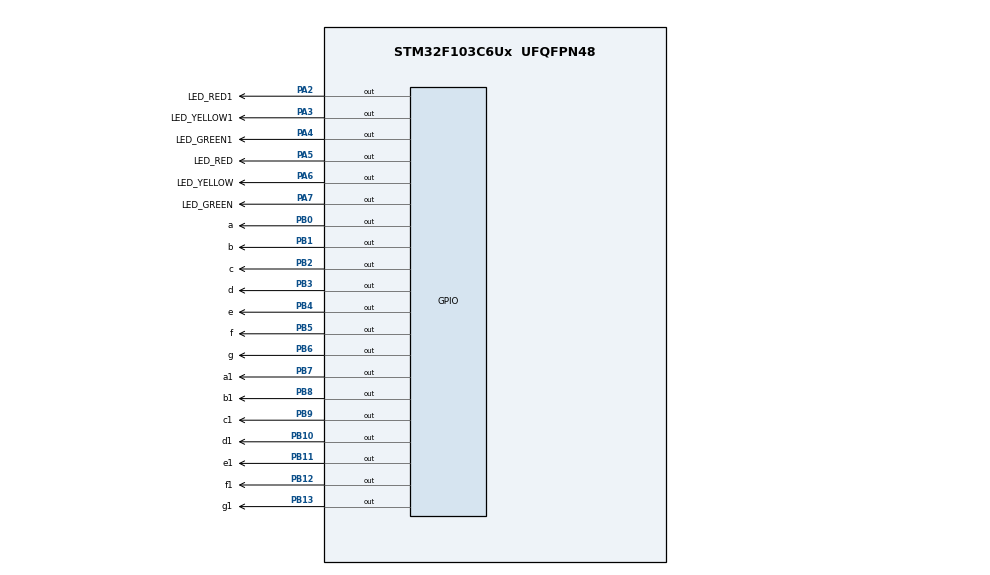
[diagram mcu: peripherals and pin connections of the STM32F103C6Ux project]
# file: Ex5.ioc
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Mcu.Family=STM32F1
Mcu.Name=STM32F103C6Ux
Mcu.Package=UFQFPN48
NVIC.PriorityGroup=NVIC_PRIORITYGROUP_4
PA2.GPIO_Label=LED_RED1
PA2.Signal=GPIO_Output
PA3.GPIO_Label=LED_YELLOW1
PA3.Signal=GPIO_Output
PA4.GPIO_Label=LED_GREEN1
PA4.Signal=GPIO_Output
PA5.GPIO_Label=LED_RED
PA5.Signal=GPIO_Output
PA6.GPIO_Label=LED_YELLOW
PA6.Signal=GPIO_Output
PA7.GPIO_Label=LED_GREEN
PA7.Signal=GPIO_Output
PB0.GPIO_Label=a
PB0.Signal=GPIO_Output
PB1.GPIO_Label=b
PB1.Signal=GPIO_Output
PB10.GPIO_Label=d1
PB10.Signal=GPIO_Output
PB11.GPIO_Label=e1
PB11.Signal=GPIO_Output
PB12.GPIO_Label=f1
PB12.Signal=GPIO_Output
PB13.GPIO_Label=g1
PB13.Signal=GPIO_Output
PB2.GPIO_Label=c
PB2.Signal=GPIO_Output
PB3.GPIO_Label=d
PB3.Signal=GPIO_Output
PB4.GPIO_Label=e
PB4.Signal=GPIO_Output
PB5.GPIO_Label=f
PB5.Signal=GPIO_Output
PB6.GPIO_Label=g
PB6.Signal=GPIO_Output
PB7.GPIO_Label=a1
PB7.Signal=GPIO_Output
PB8.GPIO_Label=b1
PB8.Signal=GPIO_Output
PB9.GPIO_Label=c1
PB9.Signal=GPIO_Output
ProjectManager.HeapSize=0x200
ProjectManager.StackSize=0x400
ProjectManager.TargetToolchain=STM32CubeIDE
RCC.APB1Freq_Value=8000000
RCC.APB2Freq_Value=8000000
VP_SYS_VS_ND.Mode=No_Debug
board=custom

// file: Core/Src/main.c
/* USER CODE BEGIN Header */
/**
  ******************************************************************************
  * @file           : main.c
  * @brief          : Main program body
  ******************************************************************************
  * @attention
  *
  * <h2><center>&copy; Copyright (c) 2024 STMicroelectronics.
  * All rights reserved.</center></h2>
  *
  * This software component is licensed by ST under BSD 3-Clause license,
  * the "License"; You may not use this file except in compliance with the
  * License. You may obtain a copy of the License at:
  *                        opensource.org/licenses/BSD-3-Clause
  *
  ******************************************************************************
  */
/* USER CODE END Header */
#include "main.h"

void SystemClock_Config(void);
static void MX_GPIO_Init(void);

/* USER CODE BEGIN 0 */
void display7SEG(int num)
{
	if(num == 0)
	{
		HAL_GPIO_WritePin(a1_GPIO_Port, a_Pin, GPIO_PIN_RESET);
		HAL_GPIO_WritePin(b1_GPIO_Port, b_Pin, GPIO_PIN_RESET);
		HAL_GPIO_WritePin(c1_GPIO_Port, c_Pin, GPIO_PIN_RESET);
		HAL_GPIO_WritePin(d1_GPIO_Port, d_Pin, GPIO_PIN_RESET);
		HAL_GPIO_WritePin(e1_GPIO_Port, e_Pin, GPIO_PIN_RESET);
		HAL_GPIO_WritePin(f1_GPIO_Port, f_Pin, GPIO_PIN_RESET);
		HAL_GPIO_WritePin(g1_GPIO_Port, g_Pin, GPIO_PIN_SET);
	}
	if(num == 1)
	{
		HAL_GPIO_WritePin(a1_GPIO_Port, a_Pin, GPIO_PIN_SET);
		HAL_GPIO_WritePin(b1_GPIO_Port, b_Pin, GPIO_PIN_RESET);
		HAL_GPIO_WritePin(c1_GPIO_Port, c_Pin, GPIO_PIN_RESET);
		HAL_GPIO_WritePin(d1_GPIO_Port, d_Pin, GPIO_PIN_SET);
		HAL_GPIO_WritePin(e1_GPIO_Port, e_Pin, GPIO_PIN_SET);
		HAL_GPIO_WritePin(f1_GPIO_Port, f_Pin, GPIO_PIN_SET);
		HAL_GPIO_WritePin(g1_GPIO_Port, g_Pin, GPIO_PIN_SET);
	}
	if(num == 2)
	{
		HAL_GPIO_WritePin(a1_GPIO_Port, a_Pin, GPIO_PIN_RESET);
		HAL_GPIO_WritePin(b1_GPIO_Port, b_Pin, GPIO_PIN_RESET);
		HAL_GPIO_WritePin(c1_GPIO_Port, c_Pin, GPIO_PIN_SET);
		HAL_GPIO_WritePin(d1_GPIO_Port, d_Pin, GPIO_PIN_RESET);
		HAL_GPIO_WritePin(e1_GPIO_Port, e_Pin, GPIO_PIN_RESET);
		HAL_GPIO_WritePin(f1_GPIO_Port, f_Pin, GPIO_PIN_SET);
		HAL_GPIO_WritePin(g1_GPIO_Port, g_Pin, GPIO_PIN_RESET);

	}
	if(num == 3)
	{
		HAL_GPIO_WritePin(a1_GPIO_Port, a_Pin, GPIO_PIN_RESET);
		HAL_GPIO_WritePin(b1_GPIO_Port, b_Pin, GPIO_PIN_RESET);
		HAL_GPIO_WritePin(c1_GPIO_Port, c_Pin, GPIO_PIN_RESET);
		HAL_GPIO_WritePin(d1_GPIO_Port, d_Pin, GPIO_PIN_RESET);
		HAL_GPIO_WritePin(e1_GPIO_Port, e_Pin, GPIO_PIN_SET);
		HAL_GPIO_WritePin(f1_GPIO_Port, f_Pin, GPIO_PIN_SET);
		HAL_GPIO_WritePin(g1_GPIO_Port, g_Pin, GPIO_PIN_RESET);

	}
	if(num == 4)
	{
		HAL_GPIO_WritePin(a1_GPIO_Port, a_Pin, GPIO_PIN_SET);
		HAL_GPIO_WritePin(b1_GPIO_Port, b_Pin, GPIO_PIN_RESET);
		HAL_GPIO_WritePin(c1_GPIO_Port, c_Pin, GPIO_PIN_RESET);
		HAL_GPIO_WritePin(d1_GPIO_Port, d_Pin, GPIO_PIN_SET);
		HAL_GPIO_WritePin(e1_GPIO_Port, e_Pin, GPIO_PIN_SET);
		HAL_GPIO_WritePin(f1_GPIO_Port, f_Pin, GPIO_PIN_RESET);
		HAL_GPIO_WritePin(g1_GPIO_Port, g_Pin, GPIO_PIN_RESET);

	}
	if(num == 5)
	{
		HAL_GPIO_WritePin(a1_GPIO_Port, a_Pin, GPIO_PIN_RESET);
		HAL_GPIO_WritePin(b1_GPIO_Port, b_Pin, GPIO_PIN_SET);
		HAL_GPIO_WritePin(c1_GPIO_Port, c_Pin, GPIO_PIN_RESET);
		HAL_GPIO_WritePin(d1_GPIO_Port, d_Pin, GPIO_PIN_RESET);
		HAL_GPIO_WritePin(e1_GPIO_Port, e_Pin, GPIO_PIN_SET);
		HAL_GPIO_WritePin(f1_GPIO_Port, f_Pin, GPIO_PIN_RESET);
		HAL_GPIO_WritePin(g1_GPIO_Port, g_Pin, GPIO_PIN_RESET);
	}
	if(num == 6)
	{
		HAL_GPIO_WritePin(a1_GPIO_Port, a_Pin, GPIO_PIN_RESET);
		HAL_GPIO_WritePin(b1_GPIO_Port, b_Pin, GPIO_PIN_SET);
		HAL_GPIO_WritePin(c1_GPIO_Port, c_Pin, GPIO_PIN_RESET);
		HAL_GPIO_WritePin(d1_GPIO_Port, d_Pin, GPIO_PIN_RESET);
		HAL_GPIO_WritePin(e1_GPIO_Port, e_Pin, GPIO_PIN_RESET);
		HAL_GPIO_WritePin(f1_GPIO_Port, f_Pin, GPIO_PIN_RESET);
		HAL_GPIO_WritePin(g1_GPIO_Port, g_Pin, GPIO_PIN_RESET);
	}
	if(num == 7)
	{
		HAL_GPIO_WritePin(a1_GPIO_Port, a_Pin, GPIO_PIN_RESET);
		HAL_GPIO_WritePin(b1_GPIO_Port, b_Pin, GPIO_PIN_RESET);
		HAL_GPIO_WritePin(c1_GPIO_Port, c_Pin, GPIO_PIN_RESET);
		HAL_GPIO_WritePin(d1_GPIO_Port, d_Pin, GPIO_PIN_SET);
		HAL_GPIO_WritePin(e1_GPIO_Port, e_Pin, GPIO_PIN_SET);
		HAL_GPIO_WritePin(f1_GPIO_Port, f_Pin, GPIO_PIN_SET);
		HAL_GPIO_WritePin(g1_GPIO_Port, g_Pin, GPIO_PIN_SET);
	}
	if(num == 8)
	{
		HAL_GPIO_WritePin(a1_GPIO_Port, a_Pin, GPIO_PIN_RESET);
		HAL_GPIO_WritePin(b1_GPIO_Port, b_Pin, GPIO_PIN_RESET);
		HAL_GPIO_WritePin(c1_GPIO_Port, c_Pin, GPIO_PIN_RESET);
		HAL_GPIO_WritePin(d1_GPIO_Port, d_Pin, GPIO_PIN_RESET);
		HAL_GPIO_WritePin(e1_GPIO_Port, e_Pin, GPIO_PIN_RESET);
		HAL_GPIO_WritePin(f1_GPIO_Port, f_Pin, GPIO_PIN_RESET);
		HAL_GPIO_WritePin(g1_GPIO_Port, g_Pin, GPIO_PIN_RESET);
	}
	if(num == 9)
	{
		HAL_GPIO_WritePin(a1_GPIO_Port, a_Pin, GPIO_PIN_RESET);
		HAL_GPIO_WritePin(b1_GPIO_Port, b_Pin, GPIO_PIN_RESET);
		HAL_GPIO_WritePin(c1_GPIO_Port, c_Pin, GPIO_PIN_RESET);
		HAL_GPIO_WritePin(d1_GPIO_Port, d_Pin, GPIO_PIN_RESET);
		HAL_GPIO_WritePin(e1_GPIO_Port, e_Pin, GPIO_PIN_SET);
		HAL_GPIO_WritePin(f1_GPIO_Port, f_Pin, GPIO_PIN_RESET);
		HAL_GPIO_WritePin(g1_GPIO_Port, g_Pin, GPIO_PIN_RESET);
	}
}
void display7SEG_1(int num)
{
	if(num == 0)
	{
		HAL_GPIO_WritePin(a1_GPIO_Port, a1_Pin, GPIO_PIN_RESET);
		HAL_GPIO_WritePin(b1_GPIO_Port, b1_Pin, GPIO_PIN_RESET);
		HAL_GPIO_WritePin(c1_GPIO_Port, c1_Pin, GPIO_PIN_RESET);
		HAL_GPIO_WritePin(d1_GPIO_Port, d1_Pin, GPIO_PIN_RESET);
		HAL_GPIO_WritePin(e1_GPIO_Port, e1_Pin, GPIO_PIN_RESET);
		HAL_GPIO_WritePin(f1_GPIO_Port, f1_Pin, GPIO_PIN_RESET);
		HAL_GPIO_WritePin(g1_GPIO_Port, g1_Pin, GPIO_PIN_SET);
	}
	if(num == 1)
	{
		HAL_GPIO_WritePin(a1_GPIO_Port, a1_Pin, GPIO_PIN_SET);
		HAL_GPIO_WritePin(b1_GPIO_Port, b1_Pin, GPIO_PIN_RESET);
		HAL_GPIO_WritePin(c1_GPIO_Port, c1_Pin, GPIO_PIN_RESET);
		HAL_GPIO_WritePin(d1_GPIO_Port, d1_Pin, GPIO_PIN_SET);
		HAL_GPIO_WritePin(e1_GPIO_Port, e1_Pin, GPIO_PIN_SET);
		HAL_GPIO_WritePin(f1_GPIO_Port, f1_Pin, GPIO_PIN_SET);
		HAL_GPIO_WritePin(g1_GPIO_Port, g1_Pin, GPIO_PIN_SET);
	}
	if(num == 2)
	{
		HAL_GPIO_WritePin(a1_GPIO_Port, a1_Pin, GPIO_PIN_RESET);
		HAL_GPIO_WritePin(b1_GPIO_Port, b1_Pin, GPIO_PIN_RESET);
		HAL_GPIO_WritePin(c1_GPIO_Port, c1_Pin, GPIO_PIN_SET);
		HAL_GPIO_WritePin(d1_GPIO_Port, d1_Pin, GPIO_PIN_RESET);
		HAL_GPIO_WritePin(e1_GPIO_Port, e1_Pin, GPIO_PIN_RESET);
		HAL_GPIO_WritePin(f1_GPIO_Port, f1_Pin, GPIO_PIN_SET);
		HAL_GPIO_WritePin(g1_GPIO_Port, g1_Pin, GPIO_PIN_RESET);

	}
	if(num == 3)
	{
		HAL_GPIO_WritePin(a1_GPIO_Port, a1_Pin, GPIO_PIN_RESET);
		HAL_GPIO_WritePin(b1_GPIO_Port, b1_Pin, GPIO_PIN_RESET);
		HAL_GPIO_WritePin(c1_GPIO_Port, c1_Pin, GPIO_PIN_RESET);
		HAL_GPIO_WritePin(d1_GPIO_Port, d1_Pin, GPIO_PIN_RESET);
		HAL_GPIO_WritePin(e1_GPIO_Port, e1_Pin, GPIO_PIN_SET);
		HAL_GPIO_WritePin(f1_GPIO_Port, f1_Pin, GPIO_PIN_SET);
		HAL_GPIO_WritePin(g1_GPIO_Port, g1_Pin, GPIO_PIN_RESET);

	}
	if(num == 4)
	{
		HAL_GPIO_WritePin(a1_GPIO_Port, a1_Pin, GPIO_PIN_SET);
		HAL_GPIO_WritePin(b1_GPIO_Port, b1_Pin, GPIO_PIN_RESET);
		HAL_GPIO_WritePin(c1_GPIO_Port, c1_Pin, GPIO_PIN_RESET);
		HAL_GPIO_WritePin(d1_GPIO_Port, d1_Pin, GPIO_PIN_SET);
		HAL_GPIO_WritePin(e1_GPIO_Port, e1_Pin, GPIO_PIN_SET);
		HAL_GPIO_WritePin(f1_GPIO_Port, f1_Pin, GPIO_PIN_RESET);
		HAL_GPIO_WritePin(g1_GPIO_Port, g1_Pin, GPIO_PIN_RESET);

	}
	if(num == 5)
	{
		HAL_GPIO_WritePin(a1_GPIO_Port, a1_Pin, GPIO_PIN_RESET);
		HAL_GPIO_WritePin(b1_GPIO_Port, b1_Pin, GPIO_PIN_SET);
		HAL_GPIO_WritePin(c1_GPIO_Port, c1_Pin, GPIO_PIN_RESET);
		HAL_GPIO_WritePin(d1_GPIO_Port, d1_Pin, GPIO_PIN_RESET);
		HAL_GPIO_WritePin(e1_GPIO_Port, e1_Pin, GPIO_PIN_SET);
		HAL_GPIO_WritePin(f1_GPIO_Port, f1_Pin, GPIO_PIN_RESET);
		HAL_GPIO_WritePin(g1_GPIO_Port, g1_Pin, GPIO_PIN_RESET);
	}
	if(num == 6)
	{
		HAL_GPIO_WritePin(a1_GPIO_Port, a1_Pin, GPIO_PIN_RESET);
		HAL_GPIO_WritePin(b1_GPIO_Port, b1_Pin, GPIO_PIN_SET);
		HAL_GPIO_WritePin(c1_GPIO_Port, c1_Pin, GPIO_PIN_RESET);
		HAL_GPIO_WritePin(d1_GPIO_Port, d1_Pin, GPIO_PIN_RESET);
		HAL_GPIO_WritePin(e1_GPIO_Port, e1_Pin, GPIO_PIN_RESET);
		HAL_GPIO_WritePin(f1_GPIO_Port, f1_Pin, GPIO_PIN_RESET);
		HAL_GPIO_WritePin(g1_GPIO_Port, g1_Pin, GPIO_PIN_RESET);
	}
	if(num == 7)
	{
		HAL_GPIO_WritePin(a1_GPIO_Port, a1_Pin, GPIO_PIN_RESET);
		HAL_GPIO_WritePin(b1_GPIO_Port, b1_Pin, GPIO_PIN_RESET);
		HAL_GPIO_WritePin(c1_GPIO_Port, c1_Pin, GPIO_PIN_RESET);
		HAL_GPIO_WritePin(d1_GPIO_Port, d1_Pin, GPIO_PIN_SET);
		HAL_GPIO_WritePin(e1_GPIO_Port, e1_Pin, GPIO_PIN_SET);
		HAL_GPIO_WritePin(f1_GPIO_Port, f1_Pin, GPIO_PIN_SET);
		HAL_GPIO_WritePin(g1_GPIO_Port, g1_Pin, GPIO_PIN_SET);
	}
	if(num == 8)
	{
		HAL_GPIO_WritePin(a1_GPIO_Port, a1_Pin, GPIO_PIN_RESET);
		HAL_GPIO_WritePin(b1_GPIO_Port, b1_Pin, GPIO_PIN_RESET);
		HAL_GPIO_WritePin(c1_GPIO_Port, c1_Pin, GPIO_PIN_RESET);
		HAL_GPIO_WritePin(d1_GPIO_Port, d1_Pin, GPIO_PIN_RESET);
		HAL_GPIO_WritePin(e1_GPIO_Port, e1_Pin, GPIO_PIN_RESET);
		HAL_GPIO_WritePin(f1_GPIO_Port, f1_Pin, GPIO_PIN_RESET);
		HAL_GPIO_WritePin(g1_GPIO_Port, g1_Pin, GPIO_PIN_RESET);
	}
	if(num == 9)
	{
		HAL_GPIO_WritePin(a1_GPIO_Port, a1_Pin, GPIO_PIN_RESET);
		HAL_GPIO_WritePin(b1_GPIO_Port, b1_Pin, GPIO_PIN_RESET);
		HAL_GPIO_WritePin(c1_GPIO_Port, c1_Pin, GPIO_PIN_RESET);
		HAL_GPIO_WritePin(d1_GPIO_Port, d1_Pin, GPIO_PIN_RESET);
		HAL_GPIO_WritePin(e1_GPIO_Port, e1_Pin, GPIO_PIN_SET);
		HAL_GPIO_WritePin(f1_GPIO_Port, f1_Pin, GPIO_PIN_RESET);
		HAL_GPIO_WritePin(g1_GPIO_Port, g1_Pin, GPIO_PIN_RESET);
	}
}
/* USER CODE END 0 */

int main(void)
{

  /* MCU Configuration--------------------------------------------------------*/

  /* Reset of all peripherals, Initializes the Flash interface and the Systick. */
  HAL_Init();

  /* Configure the system clock */
  SystemClock_Config();

  /* Initialize all configured peripherals */
  MX_GPIO_Init();

  /* Infinite loop */
  /* USER CODE BEGIN WHILE */
  int counter = 5 ;
  int state = 1 ;// 1 -red . 2 -yellow 3 - green
  int counter_1 = 3 ;
  int state_1 = 3 ;
  while (1)
  {
	  switch(state) {
	  	  case 1 :
	  		  display7SEG(counter);
	  		  HAL_GPIO_WritePin ( LED_RED_GPIO_Port , LED_RED_Pin , GPIO_PIN_SET ) ;
	  		  HAL_GPIO_WritePin ( LED_YELLOW_GPIO_Port , LED_YELLOW_Pin , GPIO_PIN_RESET ) ;
	  		  HAL_GPIO_WritePin ( LED_GREEN_GPIO_Port , LED_GREEN_Pin , GPIO_PIN_RESET ) ;
	  		  if (counter >= 0) counter--;
	  		  if (counter <0) {state = 2; counter = 2;}
	  		  break;
	  	  case 2:
	  		  display7SEG(counter);
	  		  HAL_GPIO_WritePin ( LED_RED_GPIO_Port , LED_RED_Pin , GPIO_PIN_RESET ) ;
	  		  HAL_GPIO_WritePin ( LED_YELLOW_GPIO_Port , LED_YELLOW_Pin , GPIO_PIN_SET ) ;
	  		  HAL_GPIO_WritePin ( LED_GREEN_GPIO_Port , LED_GREEN_Pin , GPIO_PIN_RESET ) ;
	  		  if (counter >= 0) counter--;
	  		  if (counter < 0) {state = 3; counter = 3;}
	  		  break;
	  	  case 3:
	  		  display7SEG(counter);
	  		  HAL_GPIO_WritePin ( LED_RED_GPIO_Port , LED_RED_Pin , GPIO_PIN_RESET ) ;
	  		  HAL_GPIO_WritePin ( LED_YELLOW_GPIO_Port , LED_YELLOW_Pin , GPIO_PIN_RESET ) ;
	  		  HAL_GPIO_WritePin ( LED_GREEN_GPIO_Port , LED_GREEN_Pin , GPIO_PIN_SET ) ;
	  		  if (counter >= 0) counter--;
	  		  if (counter < 0) {state = 1; counter = 5;}
	  		  break;
	  	  }
	  switch(state_1) {
	  	  	  case 1 :
	  	  		  display7SEG_1(counter_1);
	  	  		  HAL_GPIO_WritePin ( LED_RED1_GPIO_Port , LED_RED1_Pin , GPIO_PIN_SET ) ;
	  	  		  HAL_GPIO_WritePin ( LED_YELLOW1_GPIO_Port , LED_YELLOW1_Pin , GPIO_PIN_RESET ) ;
	  	  		  HAL_GPIO_WritePin ( LED_GREEN1_GPIO_Port , LED_GREEN1_Pin , GPIO_PIN_RESET ) ;
	  	  		  if (counter_1 >= 0) counter_1--;
	  	  		  if (counter_1 <0) {state_1 = 2; counter_1 = 2;}
	  	  		  break;
	  	  	  case 2:
	  	  		  display7SEG_1(counter_1);
	  	  		  HAL_GPIO_WritePin ( LED_RED1_GPIO_Port , LED_RED1_Pin , GPIO_PIN_RESET ) ;
	  	  		  HAL_GPIO_WritePin ( LED_YELLOW1_GPIO_Port , LED_YELLOW1_Pin , GPIO_PIN_SET ) ;
	  	  		  HAL_GPIO_WritePin ( LED_GREEN1_GPIO_Port , LED_GREEN1_Pin , GPIO_PIN_RESET ) ;
	  	  		  if (counter_1 >= 0) counter_1--;
	  	  		  if (counter_1 < 0) {state_1 = 3; counter_1 = 3;}
	  	  		  break;
	  	  	  case 3:
	  	  		  display7SEG_1(counter_1);
	  	  		  HAL_GPIO_WritePin ( LED_RED1_GPIO_Port , LED_RED1_Pin , GPIO_PIN_RESET ) ;
	  	  		  HAL_GPIO_WritePin ( LED_YELLOW1_GPIO_Port , LED_YELLOW1_Pin , GPIO_PIN_RESET ) ;
	  	  		  HAL_GPIO_WritePin ( LED_GREEN1_GPIO_Port , LED_GREEN1_Pin , GPIO_PIN_SET ) ;
	  	  		  if (counter_1 >= 0) counter_1--;
	  	  		  if (counter_1 < 0) {state_1 = 1; counter_1 = 5;}
	  	  		  break;
	  	  	  }
	   HAL_Delay(1000);
    /* USER CODE END WHILE */

  }
}

void SystemClock_Config(void)
{
  RCC_OscInitTypeDef RCC_OscInitStruct = {0};
  RCC_ClkInitTypeDef RCC_ClkInitStruct = {0};

  /** Initializes the RCC Oscillators according to the specified parameters
  * in the RCC_OscInitTypeDef structure.
  */
  RCC_OscInitStruct.OscillatorType = RCC_OSCILLATORTYPE_HSI;
  RCC_OscInitStruct.HSIState = RCC_HSI_ON;
  RCC_OscInitStruct.HSICalibrationValue = RCC_HSICALIBRATION_DEFAULT;
  RCC_OscInitStruct.PLL.PLLState = RCC_PLL_NONE;
  if (HAL_RCC_OscConfig(&RCC_OscInitStruct) != HAL_OK)
  {
    Error_Handler();
  }
  /** Initializes the CPU, AHB and APB buses clocks
  */
  RCC_ClkInitStruct.ClockType = RCC_CLOCKTYPE_HCLK|RCC_CLOCKTYPE_SYSCLK
                              |RCC_CLOCKTYPE_PCLK1|RCC_CLOCKTYPE_PCLK2;
  RCC_ClkInitStruct.SYSCLKSource = RCC_SYSCLKSOURCE_HSI;
  RCC_ClkInitStruct.AHBCLKDivider = RCC_SYSCLK_DIV1;
  RCC_ClkInitStruct.APB1CLKDivider = RCC_HCLK_DIV1;
  RCC_ClkInitStruct.APB2CLKDivider = RCC_HCLK_DIV1;

  if (HAL_RCC_ClockConfig(&RCC_ClkInitStruct, FLASH_LATENCY_0) != HAL_OK)
  {
    Error_Handler();
  }
}

static void MX_GPIO_Init(void)
{
  GPIO_InitTypeDef GPIO_InitStruct = {0};

  /* GPIO Ports Clock Enable */
  __HAL_RCC_GPIOA_CLK_ENABLE();
  __HAL_RCC_GPIOB_CLK_ENABLE();

  /*Configure GPIO pin Output Level */
  HAL_GPIO_WritePin(GPIOA, LED_RED1_Pin|LED_YELLOW1_Pin|LED_GREEN1_Pin|LED_RED_Pin
                          |LED_YELLOW_Pin|LED_GREEN_Pin, GPIO_PIN_RESET);

  /*Configure GPIO pin Output Level */
  HAL_GPIO_WritePin(GPIOB, a_Pin|b_Pin|c_Pin|d1_Pin
                          |e1_Pin|f1_Pin|g1_Pin|d_Pin
                          |e_Pin|f_Pin|g_Pin|a1_Pin
                          |b1_Pin|c1_Pin, GPIO_PIN_RESET);

  /*Configure GPIO pins : LED_RED1_Pin LED_YELLOW1_Pin LED_GREEN1_Pin LED_RED_Pin
                           LED_YELLOW_Pin LED_GREEN_Pin */
  GPIO_InitStruct.Pin = LED_RED1_Pin|LED_YELLOW1_Pin|LED_GREEN1_Pin|LED_RED_Pin
                          |LED_YELLOW_Pin|LED_GREEN_Pin;
  GPIO_InitStruct.Mode = GPIO_MODE_OUTPUT_PP;
  GPIO_InitStruct.Pull = GPIO_NOPULL;
  GPIO_InitStruct.Speed = GPIO_SPEED_FREQ_LOW;
  HAL_GPIO_Init(GPIOA, &GPIO_InitStruct);

  /*Configure GPIO pins : a_Pin b_Pin c_Pin d1_Pin
                           e1_Pin f1_Pin g1_Pin d_Pin
                           e_Pin f_Pin g_Pin a1_Pin
                           b1_Pin c1_Pin */
  GPIO_InitStruct.Pin = a_Pin|b_Pin|c_Pin|d1_Pin
                          |e1_Pin|f1_Pin|g1_Pin|d_Pin
                          |e_Pin|f_Pin|g_Pin|a1_Pin
                          |b1_Pin|c1_Pin;
  GPIO_InitStruct.Mode = GPIO_MODE_OUTPUT_PP;
  GPIO_InitStruct.Pull = GPIO_NOPULL;
  GPIO_InitStruct.Speed = GPIO_SPEED_FREQ_LOW;
  HAL_GPIO_Init(GPIOB, &GPIO_InitStruct);

}

void Error_Handler(void)
{
  __disable_irq();
  while (1)
  {
  }
}

/************************ (C) COPYRIGHT STMicroelectronics *****END OF FILE****/
